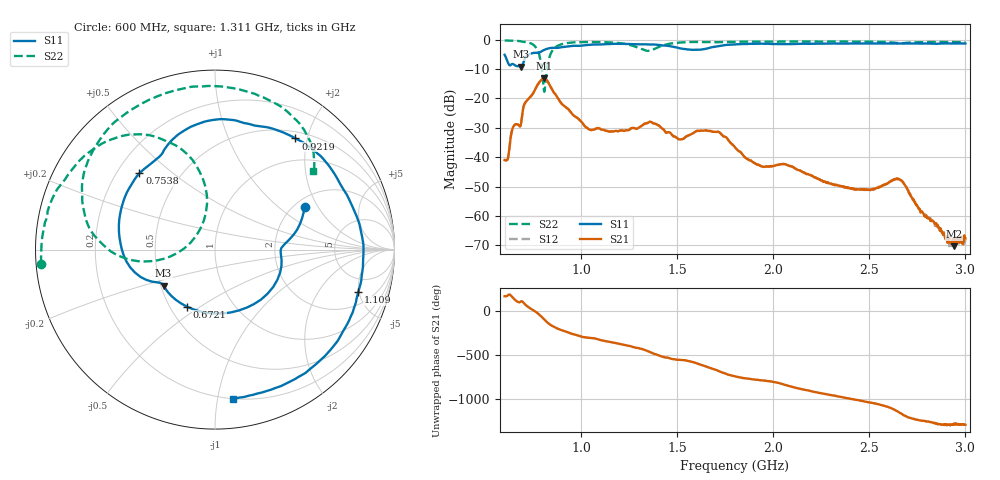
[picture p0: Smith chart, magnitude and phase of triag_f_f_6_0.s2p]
#  HZ  S  RI  R  50.00
! Rohde & Schwarz ZVB8 2Ports - Version 2.81 - 1145.1010k08 SN: 100113
! Date: 2016-05-03 01:37:55
! Measurements: S11 S21 S12 S22
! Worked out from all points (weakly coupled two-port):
!   1000 points, 600 MHz to 3 GHz, reference 50 ohm
!   highest |S21| = -13.12 dB at 806.6 MHz (marker M1); lowest = -70.3 dB at 2.94 GHz (marker M2)
!   lowest |S11| = -9.1 dB at 686.5 MHz (marker M3), VSWR 2.08, Z = 25.9 - j11.9 ohm
!   |S11| at or under -10 dB: nowhere
!   |S22| runs from -17.7 to -0.3 dB; largest |S21 - S12| = 0.0024
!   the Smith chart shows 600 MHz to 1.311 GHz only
!   S11 on the Smith chart (normalised r, x): 600 MHz: 2.26, +1.55; 672.1 MHz: 0.61, -0.44; 753.8 MHz: 0.29, +0.39; 921.9 MHz: 0.60, +1.80; 1.109 GHz: 3.15, -4.88; 1.311 GHz: 0.20, -1.10
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6e8  0.4999 0.2376  -0.00885 0.00151  -0.0088 0.00148  -0.9682 -0.0807
6.408408e8  0.3474 -0.1685  -0.0283 0.0116  -0.0282 0.0114  -0.9534 0.1205
6.720721e8  -0.1557 -0.3182  -0.00822 0.0346  -0.00824 0.0346  -0.9112 0.2724
6.864865e8  -0.2863 -0.2009  -0.0147 0.0359  -0.0149 0.0357  -0.871 0.3469
7.537538e8  -0.4215 0.4247  0.1311 0.013  0.1314 0.0145  -0.481 0.6402
8.066066e8  -0.2045 0.6416  -0.0146 -0.2202  -0.0133 -0.2203  -0.1062 0.0751
8.570571e8  0.1187 0.7188  -0.1259 -0.00488  -0.1257 -0.00547  -0.7004 0.1206
9.219219e8  0.4485 0.6192  -0.04 0.0577  -0.04 0.0574  -0.6823 0.5466
1.001201e9  0.7301 0.3127  0.0141 0.0373  0.0138 0.0373  -0.422 0.8056
1.109309e9  0.7978 -0.2376  0.0263 0.0132  0.0262 0.0134  0.0184 0.9102
1.311111e9  0.0979 -0.8314  0.0123 -0.0315  0.0125 -0.0315  0.545 0.4361
1.4e9  -0.2954 -0.7616  -0.0277 -0.0215  -0.0277 -0.0217  0.6026 0.4387
1.565766e9  -0.593 -0.3293  -0.0204 0.0128  -0.0203 0.0127  0.9058 -0.1217
1.712312e9  -0.7731 -0.0498  0.0205 0.0178  0.0203 0.0178  0.6686 -0.6139
1.801201e9  -0.7843 0.2851  0.0134 -0.00584  0.0134 -0.00578  0.4463 -0.8017
2.000601e9  -0.2464 0.8085  0.000551 -0.00707  0.000572 -0.0071  -0.1688 -0.9142
2.2e9  0.4891 0.6998  -0.00473 0.00103  -0.00474 0.00113  -0.6545 -0.6628
2.401802e9  0.862 -0.0314  0.000458 0.00293  0.000432 0.00295  -0.9014 -0.2286
2.601201e9  0.4615 -0.7282  0.00359 -0.000936  0.00359 -0.000916  -0.8775 0.2354
2.666066e9  0.2187 -0.8333  0.000321 -0.00402  0.000248 -0.00398  -0.806 0.3336
2.93994e9  -0.67 -0.5438  -0.000285 0.000113  -0.000271 0.000238  -0.446 0.7972
3e9  -0.7808 -0.3663  -0.000346 0.000232  -0.000336 0.000238  -0.3174 0.8522
